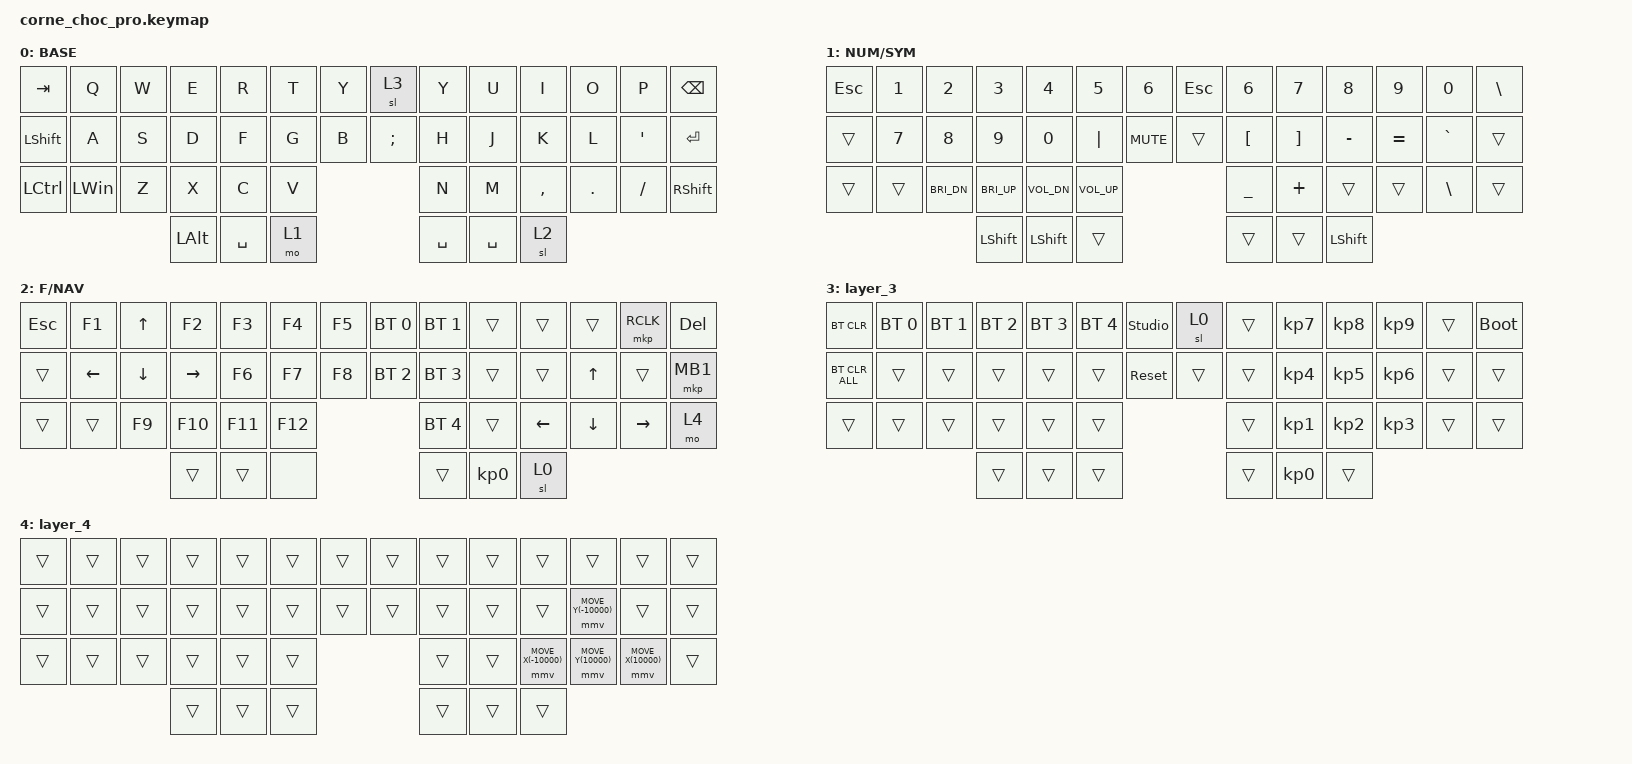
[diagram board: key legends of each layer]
/*
 * Corne Choc Pro BT - ZMK Keymap
 * Converted from Vial layout
 *
 * Layer 0: QWERTY base
 * Layer 1: Numbers + Symbols  (MO1 = left inner thumb)
 * Layer 2: F-keys + Navigation (MO2 = right outer thumb)
 */

#include <behaviors.dtsi>
#include <dt-bindings/zmk/bt.h>
#include <dt-bindings/zmk/keys.h>
#include <dt-bindings/zmk/pointing.h>

/ {
    chosen { zmk,physical-layout = &default_layout; };
};

/ {
    keymap {
        compatible = "zmk,keymap";

        default_layer {
            display-name = "BASE";

            // -----------------------------------------------------------------------------------------
            // | TAB  |  Q  |  W  |  E  |  R  |  T  |  Y  |  ESC |  Y  |  U  |  I  |  O  |  P  | BSPC |
            // | SHFT |  A  |  S  |  D  |  F  |  G  |  B  |  ;   |  H  |  J  |  K  |  L  |  '  | RET  |
            // | GUI  | CTRL|  Z  |  X  |  C  |  V  |            |  N  |  M  |  ,  |  .  |  /  | SHFT |
            //                    | ALT | SPC | MO1 |            | SPC | SPC | MO2 |

            bindings = <
&kp TAB    &kp Q     &kp W  &kp E     &kp R      &kp T  &kp Y  &sl 3     &kp Y      &kp U      &kp I      &kp O    &kp P     &kp BSPC
&kp LSHFT  &kp A     &kp S  &kp D     &kp F      &kp G  &kp B  &kp SEMI  &kp H      &kp J      &kp K      &kp L    &kp SQT   &kp RET
&kp LCTRL  &kp LWIN  &kp Z  &kp X     &kp C      &kp V                   &kp N      &kp M      &kp COMMA  &kp DOT  &kp FSLH  &kp RSHFT
                            &kp LALT  &kp SPACE  &mo 1                   &kp SPACE  &kp SPACE  &sl 2
            >;
        };

        lower_layer {
            display-name = "NUM/SYM";

            // -----------------------------------------------------------------------------------------
            // | ESC  |  1  |  2  |  3  |  4  |  5  |  6  |  ESC |  6  |  7  |  8  |  9  |  0  | BSLH |
            // | SHFT |  7  |  8  |  9  |  0  |  |  | MUTE|  :   |  [  |  ]  |  -  |  =  |  `  | RET  |
            // | GUI  | CTRL| BrD | BrU | VlD | VlU |            |  _  |  +  |  ,  |  .  | BSLH| SHFT |
            //                    | SHFT| SHFT| --- |            | SPC | SPC | SHFT|

            bindings = <
&kp ESCAPE  &kp N1  &kp N2        &kp N3        &kp N4        &kp N5        &kp N6      &kp ESC  &kp N6     &kp N7    &kp N8     &kp N9     &kp N0     &kp BSLH
&trans      &kp N7  &kp N8        &kp N9        &kp N0        &kp PIPE      &kp C_MUTE  &trans   &kp LBKT   &kp RBKT  &kp MINUS  &kp EQUAL  &kp GRAVE  &trans
&trans      &trans  &kp C_BRI_DN  &kp C_BRI_UP  &kp C_VOL_DN  &kp C_VOL_UP                       &kp UNDER  &kp PLUS  &trans     &trans     &kp BSLH   &trans
                                  &kp LSHFT     &kp LSHFT     &trans                             &trans     &trans    &kp LSHFT
            >;
        };

        raise_layer {
            display-name = "F/NAV";

            // -----------------------------------------------------------------------------------------
            // | ESC  | F1  | F2  | F3  | F4  | F5  | F11 |      |     |     |     |     |     | DEL  |
            // | SHFT | F6  | F7  | F8  | F9  | F10 | F12 |      |     |     |     | UP  |     | INS  |
            // | GUI  | CTRL|     |     |     |     |            |     |     | LFT | DWN | RGT | SHFT |
            //                    | ALT | SPC |     |            | SPC | KP0 | --- |

            bindings = <
&kp ESC  &kp F1    &kp UP_ARROW    &kp F2     &kp F3   &kp F4   &kp F5  &bt BT_SEL 0  &bt BT_SEL 1  &trans     &trans    &trans        &mkp RCLK  &kp DEL
&trans   &kp LEFT  &kp DOWN_ARROW  &kp RIGHT  &kp F6   &kp F7   &kp F8  &bt BT_SEL 2  &bt BT_SEL 3  &trans     &trans    &kp UP_ARROW  &trans     &mkp MB1
&trans   &trans    &kp F9          &kp F10    &kp F11  &kp F12                        &bt BT_SEL 4  &trans     &kp LEFT  &kp DOWN      &kp RIGHT  &mo 4
                                   &trans     &trans   &none                          &trans        &kp KP_N0  &sl 0
            >;
        };

        layer_3 {
            bindings = <
&bt BT_CLR      &bt BT_SEL 0  &bt BT_SEL 1  &bt BT_SEL 2  &bt BT_SEL 3  &bt BT_SEL 4  &studio_unlock  &sl 0   &trans  &kp KP_NUMBER_7  &kp KP_NUMBER_8  &kp KP_NUMBER_9  &trans  &bootloader
&bt BT_CLR_ALL  &trans        &trans        &trans        &trans        &trans        &sys_reset      &trans  &trans  &kp KP_NUMBER_4  &kp KP_NUMBER_5  &kp KP_NUMBER_6  &trans  &trans
&trans          &trans        &trans        &trans        &trans        &trans                                &trans  &kp KP_NUMBER_1  &kp KP_NUMBER_2  &kp KP_NUMBER_3  &trans  &trans
                                            &trans        &trans        &trans                                &trans  &kp KP_NUMBER_0  &trans
            >;
        };

        layer_4 {
            bindings = <
&trans  &trans  &trans  &trans  &trans  &trans  &trans  &trans  &trans  &trans  &trans               &trans               &trans              &trans
&trans  &trans  &trans  &trans  &trans  &trans  &trans  &trans  &trans  &trans  &trans               &mmv MOVE_Y(-10000)  &trans              &trans
&trans  &trans  &trans  &trans  &trans  &trans                  &trans  &trans  &mmv MOVE_X(-10000)  &mmv MOVE_Y(10000)   &mmv MOVE_X(10000)  &trans
                        &trans  &trans  &trans                  &trans  &trans  &trans
            >;
        };
    };
};
